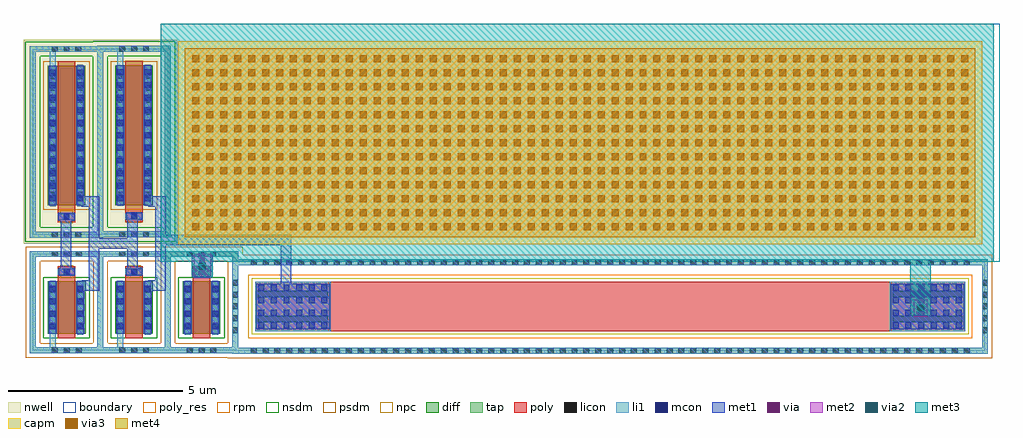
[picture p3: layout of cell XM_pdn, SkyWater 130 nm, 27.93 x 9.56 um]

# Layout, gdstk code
from math import pi, radians
import gdstk
lib = gdstk.Library(unit=1e-6, precision=1e-09)
def R(c, l, rs):  # rectangles x0, y0, x1, y1
    for r in rs: c.add(gdstk.rectangle(r[:2], r[2:], *l))
def A(c, l, x, y, w, h, nx, ny, dx, dy):  # array of equal rectangles
    R(c, l, [(x+i*dx, y+j*dy, x+i*dx+w, y+j*dy+h) for i in range(nx) for j in range(ny)])
nwell = (64, 20)
diff = (65, 20)
tap = (65, 44)
poly_res = (66, 13)
poly = (66, 20)
licon = (66, 44)
li1 = (67, 20)
mcon = (67, 44)
met1 = (68, 20)
via = (68, 44)
met2 = (69, 20)
via2 = (69, 44)
met3 = (70, 20)
via3 = (70, 44)
met4 = (71, 20)
rpm = (86, 20)
capm = (89, 44)
nsdm = (93, 44)
psdm = (94, 20)
npc = (95, 20)
boundary = (235, 4)

sky130_fd_pr__res_high_p = lib.new_cell('sky130_fd_pr__res_high_po_1p41_2TBR6S')
R(sky130_fd_pr__res_high_p, tap, [(-1.355,-10.81,1.355,-10.64), (-1.355,-10.64,-1.185,10.64), (1.185,-10.64,1.355,10.64), (-1.355,10.64,1.355,10.81)])
R(sky130_fd_pr__res_high_p, poly_res, [(-0.705,-8.06,0.705,8.06)])
R(sky130_fd_pr__res_high_p, poly, [(-0.705,-10.16,0.705,10.16)])
A(sky130_fd_pr__res_high_p, licon, -0.765, -10.81, 0.17, 0.17, 5, 2, 0.34, 21.45)
A(sky130_fd_pr__res_high_p, licon, -1.355, -10.285, 0.17, 0.17, 1, 61, 0, 0.34)
A(sky130_fd_pr__res_high_p, licon, 1.185, -10.285, 0.17, 0.17, 1, 61, 0, 0.34)
R(sky130_fd_pr__res_high_p, licon, [(-0.45,-10.08,-0.26,-8.08), (0.26,-10.08,0.45,-8.08), (-0.45,8.08,-0.26,10.08), (0.26,8.08,0.45,10.08)])
R(sky130_fd_pr__res_high_p, li1, [(-1.355,-10.81,1.355,-10.64), (-1.355,-10.64,-1.185,10.64), (1.185,-10.64,1.355,10.64), (-0.705,-10.16,0.705,-8), (-0.705,8,0.705,10.16), (-1.355,10.64,1.355,10.81)])
A(sky130_fd_pr__res_high_p, mcon, -0.625, -10.065, 0.17, 0.17, 4, 6, 0.36, 0.36)
A(sky130_fd_pr__res_high_p, mcon, -0.625, 8.09, 0.17, 0.17, 4, 6, 0.36, 0.36)
R(sky130_fd_pr__res_high_p, met1, [(-0.655,-10.13,0.655,-8.025), (-0.655,8.025,0.655,10.13)])
R(sky130_fd_pr__res_high_p, rpm, [(-0.905,-10.36,0.905,10.36)])
R(sky130_fd_pr__res_high_p, psdm, [(-1.48,-10.935,1.48,10.935)])
R(sky130_fd_pr__res_high_p, npc, [(-0.8,-10.255,0.8,10.255)])
R(sky130_fd_pr__res_high_p, boundary, [(-1.27,-10.725,1.27,10.725)])

sky130_fd_pr__pfet_01v8_ = lib.new_cell('sky130_fd_pr__pfet_01v8_TSNZVH')
R(sky130_fd_pr__pfet_01v8_, nwell, [(-1.23,-2.92,1.23,2.92)])
R(sky130_fd_pr__pfet_01v8_, diff, [(-0.54,-1.82,0.54,2.18)])
R(sky130_fd_pr__pfet_01v8_, tap, [(-1.05,-2.74,1.05,-2.57), (-1.05,-2.57,-0.88,2.57), (0.88,-2.57,1.05,2.57), (-1.05,2.57,1.05,2.74)])
R(sky130_fd_pr__pfet_01v8_, poly, [(-0.25,-2.305,0.25,2.31)])
A(sky130_fd_pr__pfet_01v8_, licon, -0.425, -2.74, 0.17, 0.17, 3, 2, 0.34, 5.31)
A(sky130_fd_pr__pfet_01v8_, licon, -0.48, -1.605, 0.17, 0.17, 1, 11, 0, 0.34)
A(sky130_fd_pr__pfet_01v8_, licon, 0.31, -1.605, 0.17, 0.17, 1, 11, 0, 0.34)
R(sky130_fd_pr__pfet_01v8_, licon, [(-0.085,-2.225,0.085,-2.055)])
R(sky130_fd_pr__pfet_01v8_, li1, [(-1.05,-2.74,1.05,-2.57), (-1.05,-2.57,-0.88,2.57), (0.88,-2.57,1.05,2.57), (-0.25,-2.225,0.25,-2.055), (-0.48,-1.84,-0.31,2.2), (0.31,-1.84,0.48,2.2), (-1.05,2.57,1.05,2.74)])
A(sky130_fd_pr__pfet_01v8_, mcon, -0.48, -1.705, 0.17, 0.17, 1, 11, 0, 0.36)
A(sky130_fd_pr__pfet_01v8_, mcon, 0.31, -1.705, 0.17, 0.17, 1, 11, 0, 0.36)
R(sky130_fd_pr__pfet_01v8_, mcon, [(-0.085,-2.225,0.085,-2.055)])
R(sky130_fd_pr__pfet_01v8_, met1, [(-0.23,-2.255,0.23,-2.025), (-0.51,-1.82,-0.28,2.18), (0.28,-1.82,0.51,2.18)])
R(sky130_fd_pr__pfet_01v8_, nsdm, [(-1.175,-2.865,1.175,-2.445), (-1.175,-2.445,-0.755,2.445), (0.755,-2.445,1.175,2.445), (-1.175,2.445,1.175,2.865)])
R(sky130_fd_pr__pfet_01v8_, psdm, [(-0.665,-1.945,0.665,2.305)])
R(sky130_fd_pr__pfet_01v8_, npc, [(-0.185,-2.325,0.185,-1.955)])
R(sky130_fd_pr__pfet_01v8_, boundary, [(-0.965,-2.655,0.965,2.655)])

sky130_fd_pr__nfet_01v8_ = lib.new_cell('sky130_fd_pr__nfet_01v8_Y5UG24')
R(sky130_fd_pr__nfet_01v8_, diff, [(-0.54,-0.905,0.54,0.595)])
R(sky130_fd_pr__nfet_01v8_, tap, [(-1.05,-1.465,1.05,-1.295), (-1.05,-1.295,-0.88,1.295), (0.88,-1.295,1.05,1.295), (-1.05,1.295,1.05,1.465)])
R(sky130_fd_pr__nfet_01v8_, poly, [(-0.25,-1.035,0.25,1.035)])
A(sky130_fd_pr__nfet_01v8_, licon, -0.425, -1.465, 0.17, 0.17, 3, 2, 0.34, 2.76)
A(sky130_fd_pr__nfet_01v8_, licon, -0.48, -0.75, 0.17, 0.17, 1, 4, 0, 0.34)
A(sky130_fd_pr__nfet_01v8_, licon, 0.31, -0.75, 0.17, 0.17, 1, 4, 0, 0.34)
R(sky130_fd_pr__nfet_01v8_, licon, [(-0.085,0.785,0.085,0.955)])
R(sky130_fd_pr__nfet_01v8_, li1, [(-1.05,-1.465,1.05,-1.295), (-1.05,-1.295,-0.88,1.295), (0.88,-1.295,1.05,1.295), (-0.48,-0.925,-0.31,0.615), (0.31,-0.925,0.48,0.615), (-0.25,0.785,0.25,0.955), (-1.05,1.295,1.05,1.465)])
A(sky130_fd_pr__nfet_01v8_, mcon, -0.48, -0.78, 0.17, 0.17, 1, 4, 0, 0.36)
A(sky130_fd_pr__nfet_01v8_, mcon, 0.31, -0.78, 0.17, 0.17, 1, 4, 0, 0.36)
R(sky130_fd_pr__nfet_01v8_, mcon, [(-0.085,0.785,0.085,0.955)])
R(sky130_fd_pr__nfet_01v8_, met1, [(-0.51,-0.905,-0.28,0.595), (0.28,-0.905,0.51,0.595), (-0.23,0.755,0.23,0.985)])
R(sky130_fd_pr__nfet_01v8_, nsdm, [(-0.665,-1.03,0.665,0.72)])
R(sky130_fd_pr__nfet_01v8_, psdm, [(-1.175,-1.59,1.175,-1.17), (-1.175,-1.17,-0.755,1.17), (0.755,-1.17,1.175,1.17), (-1.175,1.17,1.175,1.59)])
R(sky130_fd_pr__nfet_01v8_, npc, [(-0.185,0.685,0.185,1.055)])
R(sky130_fd_pr__nfet_01v8_, boundary, [(-0.965,-1.38,0.965,1.38)])

sky130_fd_pr__cap_mim_m3 = lib.new_cell('sky130_fd_pr__cap_mim_m3_1_Y9W37A')
R(sky130_fd_pr__cap_mim_m3, met3, [(-12.25,-3.4,11.59,3.4)])
A(sky130_fd_pr__cap_mim_m3, via3, -11.35, -2.5, 0.2, 0.2, 56, 13, 0.4, 0.4)
R(sky130_fd_pr__cap_mim_m3, met4, [(-11.555,-2.705,11.055,2.705)])
R(sky130_fd_pr__cap_mim_m3, capm, [(-11.75,-2.9,11.25,2.9)])
R(sky130_fd_pr__cap_mim_m3, boundary, [(-12.25,-3.4,11.75,3.4)])

xm_pdn = lib.new_cell('XM_pdn')
R(xm_pdn, li1, [(0.49,-3.235,0.66,-2.84), (2.42,-3.235,2.59,-2.84), (0.485,4.835,0.655,5.23), (2.42,4.84,2.59,5.235)])
R(xm_pdn, met1, [(25.15,-2.3,25.65,-1.9), (7.1,-1.8,7.4,-0.3), (1.4,-1.6,1.9,-1.3), (3.3,-1.6,3.8,-1.3), (1.6,-1.3,1.9,-0.4), (3.5,-1.3,3.8,-0.3), (4.55,-1.2,5.15,-0.6), (0.8,-1.1,1.1,0.5), (2.7,-1.1,3,-0.4), (1.6,-0.4,3,-0.1), (3.5,-0.3,7.4,0), (1.6,-0.1,1.9,0.8), (2.7,-0.1,3,0.5), (3.5,0,3.8,0.8), (1.4,0.8,1.9,1.1), (3.3,0.8,3.8,1.1)])
R(xm_pdn, via, [(25.325,-2.175,25.475,-2.025), (4.775,-1.135,4.925,-0.985), (4.775,-0.815,4.925,-0.665)])
R(xm_pdn, met2, [(25.2,-2.35,25.6,-1.85), (4.6,-1.25,5.1,-0.55)])
R(xm_pdn, via2, [(25.3,-2.2,25.5,-2), (4.75,-1,4.95,-0.8)])
R(xm_pdn, met3, [(25.15,-2.325,25.65,-2.3), (25.1,-2.3,25.7,0.1), (4.55,-1.225,5.15,-0.575)])
xm_pdn.add(gdstk.Reference(sky130_fd_pr__res_high_p, (16.52,-2.055), rotation=3*pi/2))
xm_pdn.add(gdstk.Reference(sky130_fd_pr__pfet_01v8_, (2.9,2.66)))
xm_pdn.add(gdstk.Reference(sky130_fd_pr__pfet_01v8_, (0.965,2.655)))
xm_pdn.add(gdstk.Reference(sky130_fd_pr__nfet_01v8_, (4.83,-1.935)))
xm_pdn.add(gdstk.Reference(sky130_fd_pr__nfet_01v8_, (2.9,-1.935)))
xm_pdn.add(gdstk.Reference(sky130_fd_pr__nfet_01v8_, (0.97,-1.935)))
xm_pdn.add(gdstk.Reference(sky130_fd_pr__cap_mim_m3, (15.91,2.63)))

lib.write_gds('XM_pdn.gds')
